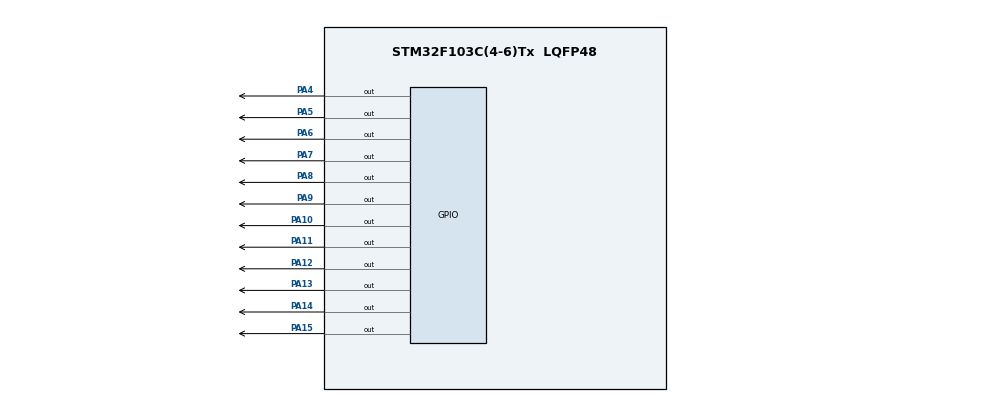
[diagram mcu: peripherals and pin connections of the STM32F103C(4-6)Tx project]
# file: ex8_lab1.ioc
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Mcu.Family=STM32F1
Mcu.Name=STM32F103C(4-6)Tx
Mcu.Package=LQFP48
NVIC.PriorityGroup=NVIC_PRIORITYGROUP_4
PA10.Signal=GPIO_Output
PA11.Signal=GPIO_Output
PA12.Signal=GPIO_Output
PA13.Signal=GPIO_Output
PA14.Signal=GPIO_Output
PA15.Signal=GPIO_Output
PA4.Signal=GPIO_Output
PA5.Signal=GPIO_Output
PA6.Signal=GPIO_Output
PA7.Signal=GPIO_Output
PA8.Signal=GPIO_Output
PA9.Signal=GPIO_Output
ProjectManager.HeapSize=0x200
ProjectManager.StackSize=0x400
ProjectManager.TargetToolchain=STM32CubeIDE
RCC.APB1Freq_Value=8000000
RCC.APB2Freq_Value=8000000
board=custom

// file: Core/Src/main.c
/* USER CODE BEGIN Header */
/**
  ******************************************************************************
  * @file           : main.c
  * @brief          : Main program body
  ******************************************************************************
  * @attention
  *
  * Copyright (c) 2025 STMicroelectronics.
  * All rights reserved.
  *
  * This software is licensed under terms that can be found in the LICENSE file
  * in the root directory of this software component.
  * If no LICENSE file comes with this software, it is provided AS-IS.
  *
  ******************************************************************************
  */
/* USER CODE END Header */
#include "main.h"

void SystemClock_Config(void);
static void MX_GPIO_Init(void);
/* USER CODE BEGIN PFP */
void setNumberOnClock(int num){
	switch(num){
	case 0:
		HAL_GPIO_WritePin(GPIOA, GPIO_PIN_4, SET);
		break;
	case 1:
		HAL_GPIO_WritePin(GPIOA, GPIO_PIN_5, SET);
		break;
	case 2:
		HAL_GPIO_WritePin(GPIOA, GPIO_PIN_6, SET);
		break;
	case 3:
		HAL_GPIO_WritePin(GPIOA, GPIO_PIN_7, SET);
		break;
	case 4:
		HAL_GPIO_WritePin(GPIOA, GPIO_PIN_8, SET);
		break;
	case 5:
		HAL_GPIO_WritePin(GPIOA, GPIO_PIN_9, SET);
		break;
	case 6:
		HAL_GPIO_WritePin(GPIOA, GPIO_PIN_10, SET);
		break;
	case 7:
		HAL_GPIO_WritePin(GPIOA, GPIO_PIN_11, SET);
		break;
	case 8:
		HAL_GPIO_WritePin(GPIOA, GPIO_PIN_12, SET);
		break;
	case 9:
		HAL_GPIO_WritePin(GPIOA, GPIO_PIN_13, SET);
		break;
	case 10:
		HAL_GPIO_WritePin(GPIOA, GPIO_PIN_14, SET);
		break;
	case 11:
		HAL_GPIO_WritePin(GPIOA, GPIO_PIN_15, SET);
		break;
	default:
		HAL_GPIO_WritePin(GPIOA, GPIO_PIN_4|GPIO_PIN_5|
					GPIO_PIN_6|GPIO_PIN_7|GPIO_PIN_8|GPIO_PIN_9|GPIO_PIN_10|
					GPIO_PIN_11|GPIO_PIN_12|GPIO_PIN_13|GPIO_PIN_14|GPIO_PIN_15, RESET);
}

}
/* USER CODE END PFP */

int main(void)
{

  /* MCU Configuration--------------------------------------------------------*/

  /* Reset of all peripherals, Initializes the Flash interface and the Systick. */
  HAL_Init();

  /* Configure the system clock */
  SystemClock_Config();

  /* Initialize all configured peripherals */
  MX_GPIO_Init();

  /* Infinite loop */
  /* USER CODE BEGIN WHILE */
  while (1)
  {
	  setNumberOnClock(0);
	  HAL_Delay(1000);
	  setNumberOnClock(7);
	  HAL_Delay(1000);
    /* USER CODE END WHILE */

  }
}

void SystemClock_Config(void)
{
  RCC_OscInitTypeDef RCC_OscInitStruct = {0};
  RCC_ClkInitTypeDef RCC_ClkInitStruct = {0};

  /** Initializes the RCC Oscillators according to the specified parameters
  * in the RCC_OscInitTypeDef structure.
  */
  RCC_OscInitStruct.OscillatorType = RCC_OSCILLATORTYPE_HSI;
  RCC_OscInitStruct.HSIState = RCC_HSI_ON;
  RCC_OscInitStruct.HSICalibrationValue = RCC_HSICALIBRATION_DEFAULT;
  RCC_OscInitStruct.PLL.PLLState = RCC_PLL_NONE;
  if (HAL_RCC_OscConfig(&RCC_OscInitStruct) != HAL_OK)
  {
    Error_Handler();
  }

  /** Initializes the CPU, AHB and APB buses clocks
  */
  RCC_ClkInitStruct.ClockType = RCC_CLOCKTYPE_HCLK|RCC_CLOCKTYPE_SYSCLK
                              |RCC_CLOCKTYPE_PCLK1|RCC_CLOCKTYPE_PCLK2;
  RCC_ClkInitStruct.SYSCLKSource = RCC_SYSCLKSOURCE_HSI;
  RCC_ClkInitStruct.AHBCLKDivider = RCC_SYSCLK_DIV1;
  RCC_ClkInitStruct.APB1CLKDivider = RCC_HCLK_DIV1;
  RCC_ClkInitStruct.APB2CLKDivider = RCC_HCLK_DIV1;

  if (HAL_RCC_ClockConfig(&RCC_ClkInitStruct, FLASH_LATENCY_0) != HAL_OK)
  {
    Error_Handler();
  }
}

static void MX_GPIO_Init(void)
{
  GPIO_InitTypeDef GPIO_InitStruct = {0};

  /* GPIO Ports Clock Enable */
  __HAL_RCC_GPIOA_CLK_ENABLE();

  /*Configure GPIO pin Output Level */
  HAL_GPIO_WritePin(GPIOA, GPIO_PIN_4|GPIO_PIN_5|GPIO_PIN_6|GPIO_PIN_7
                          |GPIO_PIN_8|GPIO_PIN_9|GPIO_PIN_10|GPIO_PIN_11
                          |GPIO_PIN_12|GPIO_PIN_13|GPIO_PIN_14|GPIO_PIN_15, GPIO_PIN_RESET);

  /*Configure GPIO pins : PA4 PA5 PA6 PA7
                           PA8 PA9 PA10 PA11
                           PA12 PA13 PA14 PA15 */
  GPIO_InitStruct.Pin = GPIO_PIN_4|GPIO_PIN_5|GPIO_PIN_6|GPIO_PIN_7
                          |GPIO_PIN_8|GPIO_PIN_9|GPIO_PIN_10|GPIO_PIN_11
                          |GPIO_PIN_12|GPIO_PIN_13|GPIO_PIN_14|GPIO_PIN_15;
  GPIO_InitStruct.Mode = GPIO_MODE_OUTPUT_PP;
  GPIO_InitStruct.Pull = GPIO_NOPULL;
  GPIO_InitStruct.Speed = GPIO_SPEED_FREQ_LOW;
  HAL_GPIO_Init(GPIOA, &GPIO_InitStruct);

}

void Error_Handler(void)
{
  __disable_irq();
  while (1)
  {
  }
}
